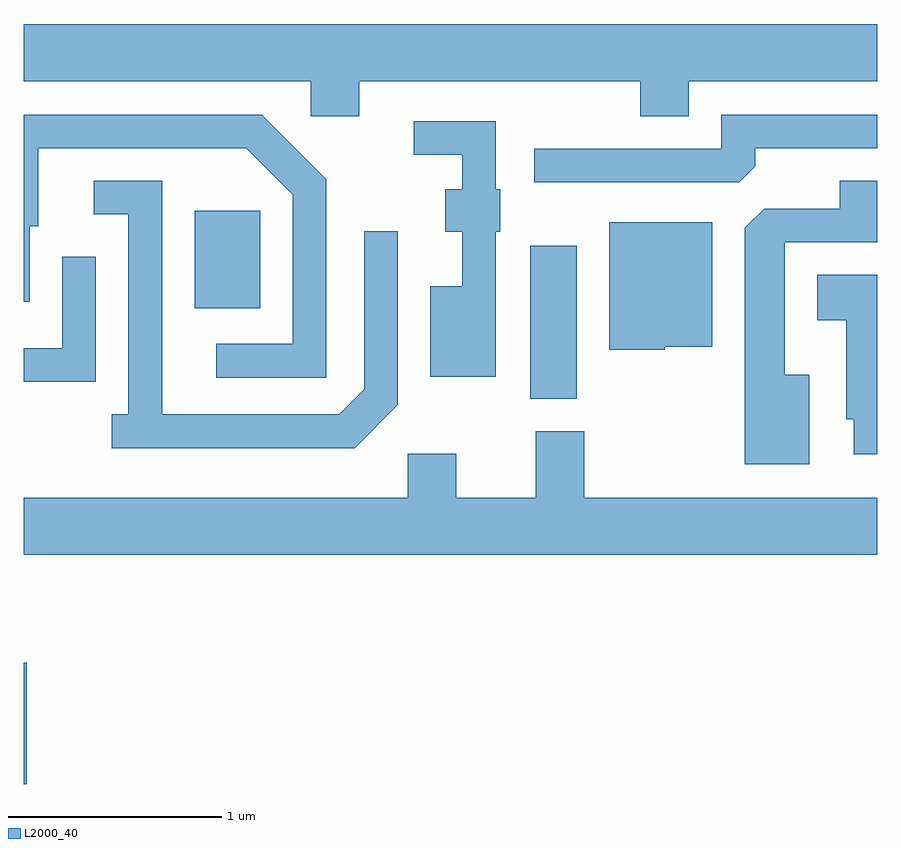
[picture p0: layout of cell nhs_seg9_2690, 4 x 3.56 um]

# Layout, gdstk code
import gdstk
lib = gdstk.Library(unit=1e-6, precision=1e-09)
def R(c, l, rs):  # rectangles x0, y0, x1, y1
    for r in rs: c.add(gdstk.rectangle(r[:2], r[2:], *l))
def P(c, l, *ps):  # polygons
    for p in ps: c.add(gdstk.Polygon(p, *l))
L2000_40 = (2000, 40)

nhs_seg9_2690 = lib.new_cell('nhs_seg9_2690')
R(nhs_seg9_2690, L2000_40, [(263.611,2028.481,263.624,2029.049), (265.986,2030.286,266.204,2031.004), (264.411,2030.711,264.719,2031.169)])
P(nhs_seg9_2690, L2000_40, [(265.184,2031.776),(266.501,2031.776),(266.501,2031.611),(266.729,2031.611),(266.729,2031.776),(267.611,2031.776),(267.611,2032.044),(263.611,2032.044),(263.611,2031.776),(264.956,2031.776),(264.956,2031.611),(265.184,2031.611)],
  [(267.039,2031.377),(267.039,2031.461),(267.611,2031.461),(267.611,2031.619),(266.881,2031.619),(266.881,2031.459),(266.003,2031.459),(266.003,2031.301),(266.964,2031.301)],
  [(265.029,2031.317),(264.727,2031.619),(263.611,2031.619),(263.611,2030.741),(263.639,2030.741),(263.639,2031.096),(263.679,2031.096),(263.679,2031.461),(264.654,2031.461),(264.871,2031.244),(264.871,2030.544),(264.513,2030.544),(264.513,2030.386),(265.029,2030.386)],
  [(265.824,2031.071),(265.844,2031.071),(265.844,2031.269),(265.824,2031.269),(265.824,2031.589),(265.438,2031.589),(265.438,2031.431),(265.666,2031.431),(265.666,2031.269),(265.586,2031.269),(265.586,2031.071),(265.666,2031.071),(265.666,2030.814),(265.516,2030.814),(265.516,2030.391),(265.824,2030.391)],
  [(265.364,2030.259),(265.364,2031.073),(265.206,2031.073),(265.206,2030.332),(265.089,2030.214),(264.259,2030.214),(264.259,2031.309),(263.938,2031.309),(263.938,2031.151),(264.101,2031.151),(264.101,2030.214),(264.023,2030.214),(264.023,2030.056),(265.162,2030.056)],
  [(267.294,2030.399),(267.179,2030.399),(267.179,2031.021),(267.611,2031.021),(267.611,2031.309),(267.436,2031.309),(267.436,2031.179),(267.082,2031.179),(266.991,2031.089),(266.991,2029.981),(267.294,2029.981)],
  [(266.615,2030.531),(266.839,2030.531),(266.839,2031.114),(266.356,2031.114),(266.356,2030.516),(266.615,2030.516)],
  [(263.949,2030.953),(263.791,2030.953),(263.791,2030.524),(263.611,2030.524),(263.611,2030.366),(263.949,2030.366)],
  [(267.611,2030.869),(267.331,2030.869),(267.331,2030.656),(267.466,2030.656),(267.466,2030.191),(267.501,2030.191),(267.501,2030.026),(267.611,2030.026)],
  [(267.611,2029.824),(266.239,2029.824),(266.239,2030.134),(266.011,2030.134),(266.011,2029.824),(265.639,2029.824),(265.639,2030.029),(265.411,2030.029),(265.411,2029.824),(263.611,2029.824),(263.611,2029.556),(267.611,2029.556)])

lib.write_gds('nhs_seg9_2690.gds')
